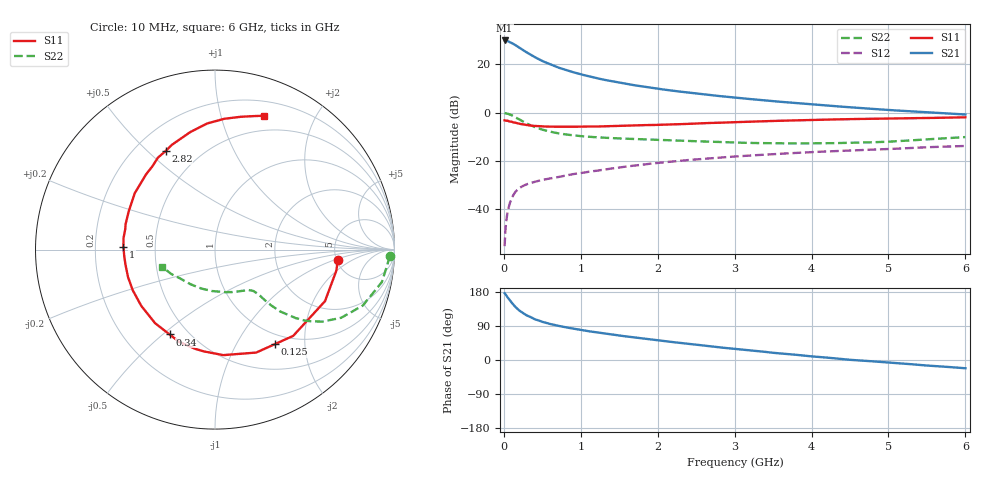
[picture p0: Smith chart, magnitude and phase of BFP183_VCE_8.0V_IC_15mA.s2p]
! Infineon Technologies  Discrete & RF Semiconductors
! BFP183
! VCE = 8.0 V,  IC =  15 mA
! Common Emitter S-Parameters:  Jan 2016
# GHz  S  MA  R  50
!  f  S11  S21  S12  S22
! GHz  MAG  ANG  MAG  ANG  MAG  ANG  MAG  ANG
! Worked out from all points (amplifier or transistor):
!   210 points, 10 MHz to 6 GHz, reference 50 ohm
!   highest |S21| = 29.9 dB at 10 MHz (marker M1)
!   |S21| within 3 dB of that: start of sweep to 202.8 MHz
!   unconditionally stable (mu >= 1): 1.105 GHz to 5.845 GHz
!   at 185 MHz: K = 0.30, MSG = 29.5 dB, |S12| = -31.8 dB
!   at 1.52 GHz: K = 1.10, MAG = 15.6 dB, |S12| = -22.7 dB
!   at 6 GHz: K = 0.98, MSG = 6.5 dB, |S12| = -13.9 dB
!   S11 on the Smith chart (normalised r, x): 10 MHz: 5.14, -1.12; 125 MHz: 0.85, -1.46; 340 MHz: 0.40, -0.53; 1 GHz: 0.32, +0.01; 2.82 GHz: 0.32, +0.57; 6 GHz: 0.34, +1.38
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0.01  0.687 -4.8  31.1 176.4  0.0017 75.0  0.9743 -2.1
0.02  0.6861 -9.9  31.06 173.9  0.0036 83.7  0.9664 -4.4
0.05  0.6768 -25.1  30.19 164.9  0.0089 79.8  0.9471 -11.0
0.1  0.6488 -47.8  27.71 151.6  0.0166 67.7  0.881 -20.7
0.125  0.6233 -57.7  26.2 146.1  0.0196 63.7  0.8381 -24.4
0.15  0.6179 -68.2  24.96 140.0  0.0227 60.7  0.7989 -28.4
0.2  0.5897 -85.5  22.17 130.7  0.0271 56.1  0.7197 -33.9
0.26  0.5636 -101.4  19.14 122.1  0.0306 51.0  0.6366 -38.4
0.34  0.5362 -118.1  16.06 114.0  0.0343 48.3  0.5531 -41.5
0.4  0.5288 -129.1  14.07 107.7  0.0366 46.9  0.5011 -43.5
0.5  0.5167 -142.7  11.63 100.7  0.0401 45.4  0.4412 -44.8
0.6  0.5111 -153.7  9.987 95.1  0.043 45.1  0.4007 -45.4
0.7  0.5083 -162.4  8.604 90.5  0.0458 46.2  0.3714 -45.6
1  0.5103 178.3  6.169 79.3  0.0552 47.3  0.3237 -46.6
1.02  0.5106 177.2  6.063 78.7  0.056 47.3  0.3218 -46.7
1.5  0.5258 156.2  4.167 64.5  0.0726 47.8  0.2899 -51.0
2.02  0.5553 138.0  3.076 51.6  0.0906 45.6  0.271 -58.8
2.82  0.6147 116.6  2.178 33.0  0.1168 40.3  0.245 -76.0
3.1  0.6375 110.0  1.967 27.5  0.1254 38.1  0.2362 -83.2
4.1  0.7083 92.0  1.436 8.0  0.1536 30.1  0.23 -112.8
5.1  0.7534 79.1  1.102 -8.1  0.1778 23.1  0.2533 -141.0
6  0.795 69.8  0.909 -21.8  0.2027 15.3  0.3096 -161.7
